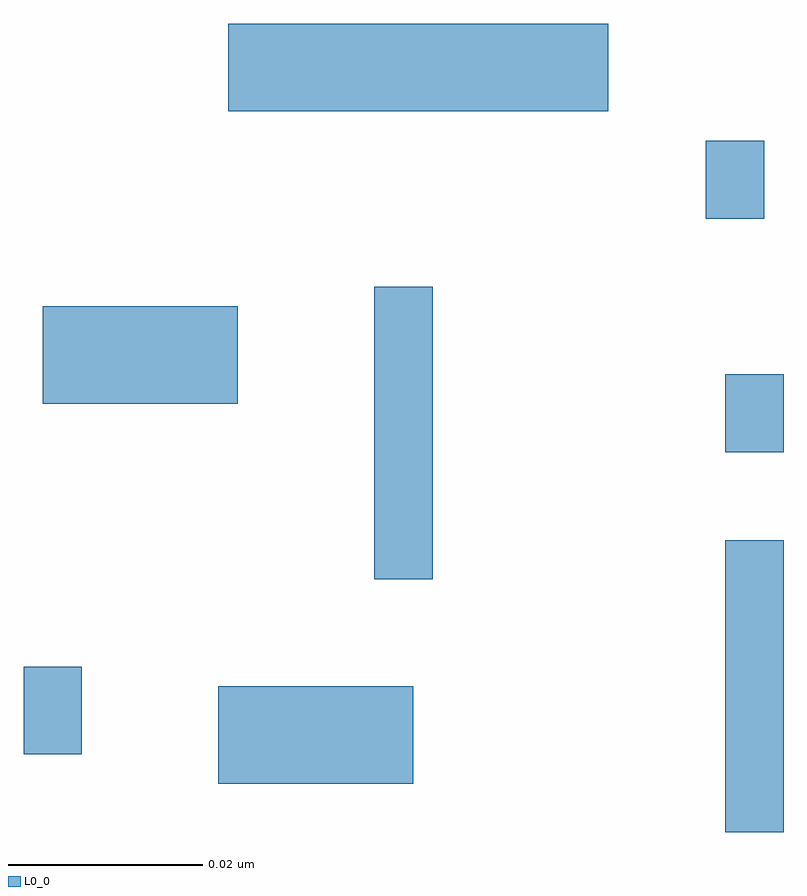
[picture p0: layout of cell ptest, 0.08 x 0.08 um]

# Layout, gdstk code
import gdstk
lib = gdstk.Library(unit=1e-6, precision=1e-09)
def R(c, l, rs):  # rectangles x0, y0, x1, y1
    for r in rs: c.add(gdstk.rectangle(r[:2], r[2:], *l))
L0_0 = (0, 0)

ptest = lib.new_cell('ptest')
R(ptest, L0_0, [(0.084,0.01,0.09,0.04), (0.032,0.015,0.052,0.025), (0.012,0.018,0.018,0.027), (0.048,0.036,0.054,0.066), (0.084,0.049,0.09,0.057), (0.014,0.054,0.034,0.064), (0.082,0.073,0.088,0.081), (0.033,0.084,0.072,0.093)])

lib.write_gds('ptest.gds')
